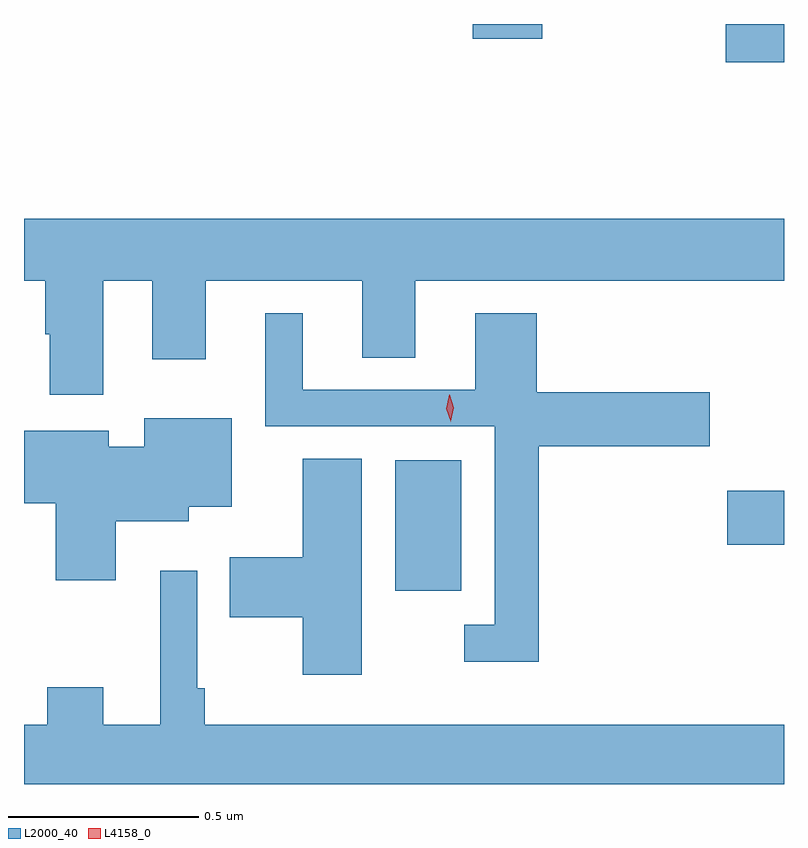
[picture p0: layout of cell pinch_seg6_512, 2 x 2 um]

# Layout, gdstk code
import gdstk
lib = gdstk.Library(unit=1e-6, precision=1e-09)
def R(c, l, rs):  # rectangles x0, y0, x1, y1
    for r in rs: c.add(gdstk.rectangle(r[:2], r[2:], *l))
def P(c, l, *ps):  # polygons
    for p in ps: c.add(gdstk.Polygon(p, *l))
L2000_40 = (2000, 40)
L4158_0 = (4158, 0)

pinch_seg6_512 = lib.new_cell('pinch_seg6_512')
R(pinch_seg6_512, L2000_40, [(844.226,954.512,844.399,954.856), (845.1,954.634,845.249,954.776), (845.096,955.904,845.249,956.004), (844.43,955.965,844.613,956.004)])
P(pinch_seg6_512, L2000_40, [(843.457,955.328),(843.587,955.328),(843.587,955.122),(843.727,955.122),(843.727,955.328),(844.139,955.328),(844.139,955.126),(844.279,955.126),(844.279,955.328),(845.249,955.328),(845.249,955.492),(843.249,955.492),(843.249,955.328),(843.305,955.328),(843.305,955.187),(843.317,955.187),(843.317,955.029),(843.457,955.029)],
  [(844.604,954.893),(845.053,954.893),(845.053,955.035),(844.598,955.035),(844.598,955.243),(844.436,955.243),(844.436,955.041),(843.982,955.041),(843.982,955.243),(843.884,955.243),(843.884,954.945),(844.488,954.945),(844.488,954.423),(844.407,954.423),(844.407,954.326),(844.604,954.326)],
  [(843.49,954.695),(843.682,954.695),(843.682,954.734),(843.796,954.734),(843.796,954.967),(843.566,954.967),(843.566,954.892),(843.472,954.892),(843.472,954.934),(843.249,954.934),(843.249,954.743),(843.332,954.743),(843.332,954.54),(843.49,954.54)],
  [(844.138,954.86),(843.983,954.86),(843.983,954.601),(843.79,954.601),(843.79,954.443),(843.983,954.443),(843.983,954.291),(844.138,954.291)],
  [(845.249,954.16),(843.725,954.16),(843.725,954.256),(843.705,954.256),(843.705,954.565),(843.608,954.565),(843.608,954.16),(843.457,954.16),(843.457,954.259),(843.31,954.259),(843.31,954.16),(843.249,954.16),(843.249,954.004),(845.249,954.004)])
P(pinch_seg6_512, L4158_0, [(844.372,954.957),(844.372,954.958),(844.36,954.992),(844.368,955.029),(844.369,955.029),(844.369,955.029),(844.38,954.994),(844.372,954.958)])

lib.write_gds('pinch_seg6_512.gds')
